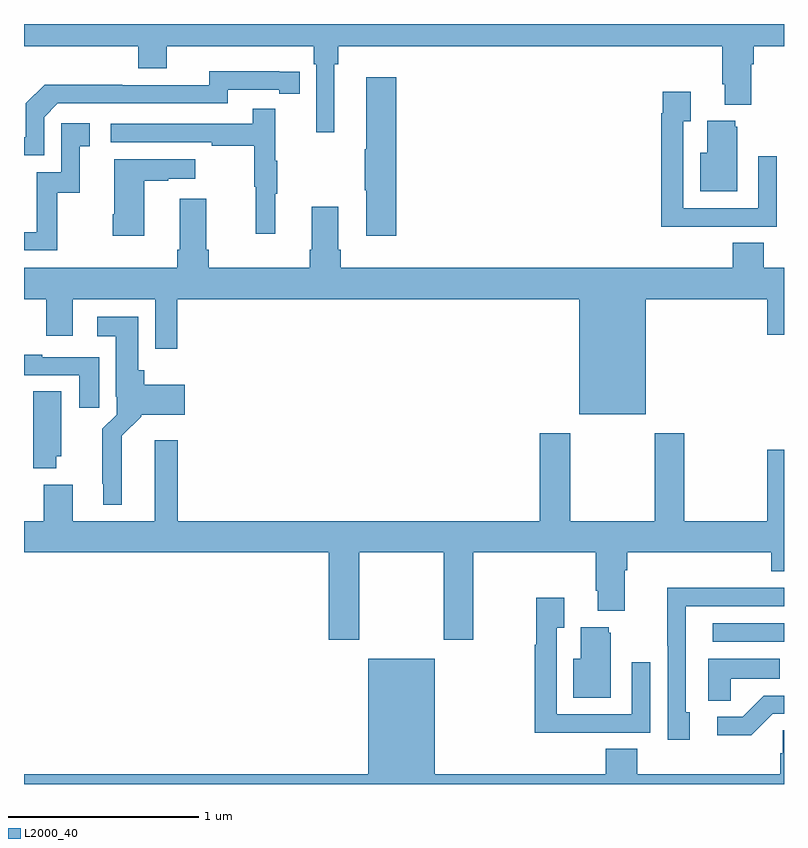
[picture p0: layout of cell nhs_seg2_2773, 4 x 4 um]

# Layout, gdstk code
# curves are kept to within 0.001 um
import gdstk
lib = gdstk.Library(unit=1e-6, precision=1e-09)
def R(c, l, rs):  # rectangles x0, y0, x1, y1
    for r in rs: c.add(gdstk.rectangle(r[:2], r[2:], *l))
def P(c, l, *ps):  # polygons
    for p in ps: c.add(gdstk.Polygon(p, *l))
L2000_40 = (2000, 40)

nhs_seg2_2773 = lib.new_cell('nhs_seg2_2773')
R(nhs_seg2_2773, L2000_40, [(260.625,596.55,261,596.646)])
P(nhs_seg2_2773, L2000_40, [(258.634,599.588),(258.653,599.588),(258.653,599.684),(260.675,599.684),(260.675,599.482),(260.687,599.482),(260.687,599.375),(260.827,599.375),(260.827,599.588),(260.84,599.588),(260.84,599.684),(261,599.684),(261,599.8),(257,599.8),(257,599.684),(257.6,599.684),(257.6,599.567),(257.752,599.567),(257.752,599.684),(258.524,599.684),(258.524,599.588),(258.537,599.588),(258.537,599.229),(258.634,599.229)],
  [(257.106,599.31),(257.178,599.382),(258.072,599.382),(258.072,599.454),(258.344,599.454),(258.344,599.434),(258.452,599.434),(258.452,599.55),(257.976,599.551),(257.976,599.478),(257.516,599.478),(257.516,599.48),(257.108,599.48),(257.01,599.382),(257.01,599.205),(257,599.205),(257,599.109),(257.106,599.109)],
  [(258.959,599.521),(258.8,599.521),(258.8,599.141),(258.793,599.141),(258.793,598.924),(258.8,598.924),(258.8,598.686),(258.959,598.686)],
  [(260.645,598.734),(260.961,598.734),(260.961,599.104),(260.865,599.104),(260.865,598.83),(260.469,598.83),(260.469,599.287),(260.509,599.287),(260.509,599.443),(260.361,599.443),(260.361,599.33),(260.353,599.33),(260.353,598.733),(260.645,598.733)],
  [(258.323,598.907),(258.334,598.907),(258.334,599.081),(258.323,599.081),(258.323,599.353),(258.205,599.353),(258.205,599.274),(257.457,599.274),(257.457,599.178),(257.989,599.178),(257.989,599.158),(258.213,599.158),(258.213,598.944),(258.22,598.944),(258.22,598.695),(258.323,598.695)],
  [(260.755,599.259),(260.744,599.259),(260.744,599.29),(260.597,599.29),(260.597,599.122),(260.558,599.122),(260.558,598.919),(260.755,598.919)],
  [(257.176,598.911),(257.294,598.911),(257.294,599.157),(257.347,599.157),(257.347,599.278),(257.196,599.278),(257.196,599.019),(257.067,599.019),(257.067,598.704),(257,598.704),(257,598.608),(257.176,598.608)],
  [(257.632,598.975),(257.759,598.975),(257.759,598.985),(257.902,598.985),(257.902,599.089),(257.474,599.089),(257.474,598.798),(257.467,598.798),(257.467,598.686),(257.632,598.686)],
  [(258.668,598.612),(258.655,598.612),(258.655,598.837),(258.515,598.837),(258.515,598.612),(258.503,598.612),(258.503,598.516),(257.972,598.516),(257.972,598.612),(257.959,598.612),(257.959,598.879),(257.819,598.879),(257.819,598.612),(257.807,598.612),(257.807,598.516),(257,598.516),(257,598.352),(257.117,598.352),(257.117,598.158),(257.257,598.158),(257.257,598.352),(257.691,598.352),(257.691,598.092),(257.807,598.092),(257.807,598.352),(259.922,598.352),(259.922,597.746),(260.272,597.746),(260.272,598.352),(260.912,598.352),(260.912,598.164),(261,598.164),(261,598.516),(260.894,598.516),(260.894,598.649),(260.729,598.649),(260.729,598.516),(258.668,598.516)],
  [(257.515,597.632),(257.616,597.734),(257.616,597.743),(257.845,597.743),(257.845,597.901),(257.633,597.901),(257.633,597.978),(257.602,597.978),(257.602,598.258),(257.385,598.258),(257.385,598.157),(257.483,598.157),(257.483,597.838),(257.487,597.838),(257.487,597.744),(257.413,597.67),(257.413,597.379),(257.417,597.379),(257.417,597.269),(257.515,597.269)],
  [(257.395,598.047),(257.095,598.047),(257.095,598.06),(257,598.06),(257,597.951),(257.291,597.951),(257.291,597.78),(257.395,597.78)],
  [(257.17,597.525),(257.197,597.525),(257.197,597.866),(257.048,597.866),(257.048,597.461),(257.17,597.461)],
  [(258.765,597.02),(259.21,597.02),(259.21,596.559),(259.365,596.559),(259.365,597.02),(260.009,597.02),(260.009,596.818),(260.021,596.818),(260.021,596.711),(260.161,596.711),(260.161,596.924),(260.174,596.924),(260.174,597.02),(260.933,597.02),(260.933,596.921),(261,596.921),(261,597.559),(260.912,597.559),(260.912,597.184),(260.475,597.184),(260.475,597.646),(260.32,597.646),(260.32,597.184),(259.875,597.184),(259.875,597.646),(259.715,597.646),(259.715,597.184),(257.81,597.184),(257.81,597.61),(257.687,597.61),(257.687,597.184),(257.257,597.184),(257.257,597.376),(257.105,597.376),(257.105,597.184),(257,597.184),(257,597.02),(258.605,597.02),(258.605,596.559),(258.765,596.559)],
  [(260.503,596.178),(260.484,596.178),(260.484,596.736),(261,596.736),(261,596.832),(260.849,596.832),(260.849,596.834),(260.386,596.834),(260.386,596.527),(260.388,596.527),(260.388,596.034),(260.503,596.034)],
  [(259.979,596.07),(260.295,596.07),(260.295,596.44),(260.199,596.44),(260.199,596.166),(259.803,596.166),(259.803,596.623),(259.843,596.623),(259.843,596.779),(259.695,596.779),(259.695,596.534),(259.687,596.534),(259.687,596.069),(259.979,596.069)],
  [(260.089,596.595),(260.078,596.595),(260.078,596.626),(259.931,596.626),(259.931,596.458),(259.892,596.458),(259.892,596.255),(260.089,596.255)],
  [(261,596.084),(260.994,596.084),(260.994,595.961),(260.981,595.961),(260.981,595.852),(260.228,595.852),(260.228,595.985),(260.063,595.985),(260.063,595.852),(259.162,595.852),(259.162,596.458),(258.812,596.458),(258.812,595.852),(257,595.852),(257,595.8),(261,595.8)],
  [(260.721,596.354),(260.978,596.354),(260.978,596.458),(260.6,596.458),(260.6,596.239),(260.721,596.239)],
  [(260.94,596.169),(261,596.169),(261,596.265),(260.894,596.265),(260.783,596.154),(260.649,596.154),(260.649,596.057),(260.827,596.057)])

lib.write_gds('nhs_seg2_2773.gds')
